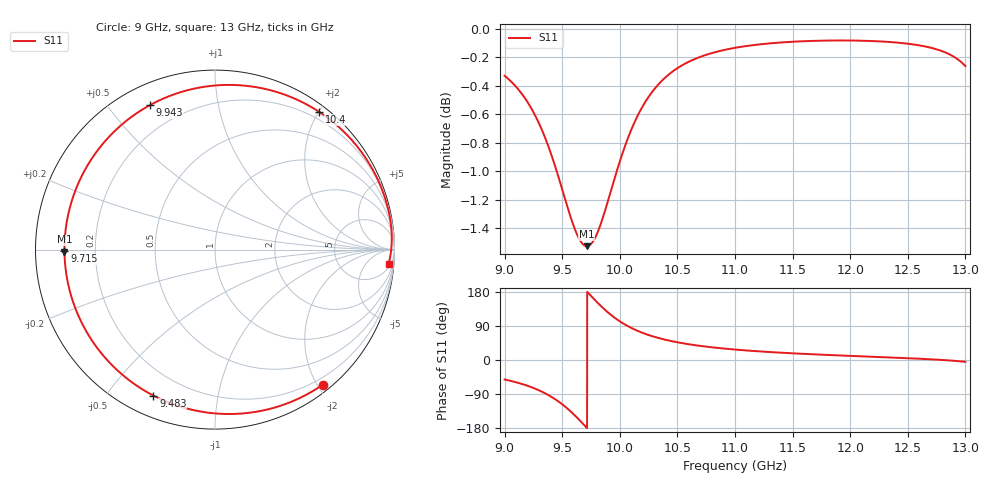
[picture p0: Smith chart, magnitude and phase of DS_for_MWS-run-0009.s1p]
! TOUCHSTONE file generated by CST DESIGN STUDIO
! Date and time: Tue Feb  4 14:11:57 2025
! Project name: C:\Work\MatlabApps\UnitCellOptimizationMatlab\CST\unitcell.cst
! Tree item: Tasks\Sweep1\SPara1\S-Parameters
! Header version: 2024
! Port assignment regex: !\s*Touchstone port\s*([0-9]+)\s*=\s*(CST MWS port|CST DES external port|CST DES block port)\s*(.+)\s* \(\"(.*)\"\)(\s*mode\s*([0-9]+))?.*
! Touchstone port assignment:
! Touchstone port 1 = CST DES external port 1 ("")
# GHz S MA R 50
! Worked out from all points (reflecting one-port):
!   4001 points, 9 GHz to 13 GHz, reference 50 ohm
!   lowest |S11| = -1.5 dB at 9.714 GHz (marker M1), VSWR 11.40, Z = 4.38 - j0.355 ohm
!   phase of S11 starts at -51 deg and turns -313 deg over the sweep
!   S11 on the Smith chart (normalised r, x): 9 GHz: 0.10, -2.07; 9.483 GHz: 0.09, -0.66; 9.715 GHz: 0.09, -0.00; 9.943 GHz: 0.09, +0.64; 10.4 GHz: 0.10, +2.00; 13 GHz: 8, -21
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9  0.9627 -51.4
9.13  0.951 -61.4
9.253  0.9343 -74.1
9.382  0.9088 -92.8
9.483  0.8828 -112.9
9.5  0.8782 -116.8
9.561  0.8618 -132.3
9.623  0.8478 -150.2
9.67  0.841 -164.9
9.714  0.8388 -179.2
9.715  0.8388 -179.5
9.774  0.8428 161.4
9.838  0.8547 141.8
9.89  0.868 127.4
9.943  0.8828 114.3
10  0.8982 102.0
10.084  0.9183 87.0
10.189  0.9377 72.6
10.29  0.9513 62.0
10.403  0.962 52.9
10.5  0.9686 46.7
10.718  0.9782 36.5
11  0.9847 27.6
11.5  0.9896 17.6
12  0.9906 10.9
12.5  0.988 4.8
12.789  0.9824 0.3
13  0.9703 -4.8
